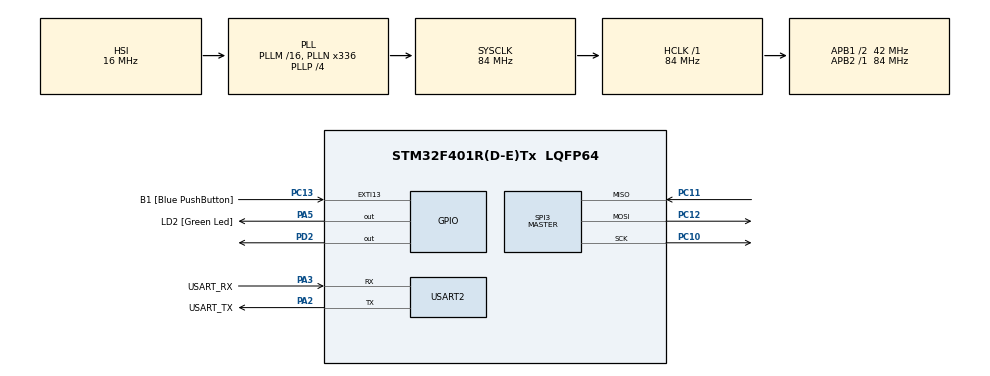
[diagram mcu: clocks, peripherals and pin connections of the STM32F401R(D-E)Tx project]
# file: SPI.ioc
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Mcu.Family=STM32F4
Mcu.Name=STM32F401R(D-E)Tx
Mcu.Package=LQFP64
NVIC.PriorityGroup=NVIC_PRIORITYGROUP_0
NVIC.SPI3_IRQn=true\:0\:0\:false\:false\:true\:true\:true\:true
PA13.GPIO_Label=TMS
PA13.Mode=Serial_Wire
PA13.Signal=SYS_JTMS-SWDIO
PA14.GPIO_Label=TCK
PA14.Mode=Serial_Wire
PA14.Signal=SYS_JTCK-SWCLK
PA2.GPIO_Label=USART_TX
PA2.GPIO_Mode=GPIO_MODE_AF_PP
PA2.GPIO_PuPd=GPIO_NOPULL
PA2.GPIO_Speed=GPIO_SPEED_FREQ_LOW
PA2.Mode=Asynchronous
PA2.Signal=USART2_TX
PA3.GPIO_Label=USART_RX
PA3.GPIO_Mode=GPIO_MODE_AF_PP
PA3.GPIO_PuPd=GPIO_NOPULL
PA3.GPIO_Speed=GPIO_SPEED_FREQ_LOW
PA3.Mode=Asynchronous
PA3.Signal=USART2_RX
PA5.GPIO_Label=LD2 [Green Led]
PA5.GPIO_Mode=GPIO_MODE_OUTPUT_PP
PA5.GPIO_PuPd=GPIO_NOPULL
PA5.GPIO_Speed=GPIO_SPEED_FREQ_LOW
PA5.Signal=GPIO_Output
PB3.GPIO_Label=SWO
PB3.Signal=SYS_JTDO-SWO
PC10.Mode=Full_Duplex_Master
PC10.Signal=SPI3_SCK
PC11.Mode=Full_Duplex_Master
PC11.Signal=SPI3_MISO
PC12.Mode=Full_Duplex_Master
PC12.Signal=SPI3_MOSI
PC13-ANTI_TAMP.GPIO_Label=B1 [Blue PushButton]
PC13-ANTI_TAMP.GPIO_ModeDefaultEXTI=GPIO_MODE_IT_FALLING
PC13-ANTI_TAMP.GPIO_PuPd=GPIO_NOPULL
PC13-ANTI_TAMP.Signal=GPXTI13
PC14-OSC32_IN.Mode=LSE-External-Oscillator
PC14-OSC32_IN.Signal=RCC_OSC32_IN
PC15-OSC32_OUT.Mode=LSE-External-Oscillator
PC15-OSC32_OUT.Signal=RCC_OSC32_OUT
PD2.PinState=GPIO_PIN_SET
PD2.Signal=GPIO_Output
PH0\ -\ OSC_IN.Mode=HSE-External-Clock-Source
PH0\ -\ OSC_IN.Signal=RCC_OSC_IN
PH1\ -\ OSC_OUT.Mode=HSE-External-Clock-Source
PH1\ -\ OSC_OUT.Signal=RCC_OSC_OUT
ProjectManager.HeapSize=0x200
ProjectManager.StackSize=0x400
ProjectManager.TargetToolchain=STM32CubeIDE
RCC.48MHZClocksFreq_Value=48000000
RCC.AHBFreq_Value=84000000
RCC.APB1CLKDivider=RCC_HCLK_DIV2
RCC.APB1Freq_Value=42000000
RCC.APB1TimFreq_Value=84000000
RCC.APB2Freq_Value=84000000
RCC.APB2TimFreq_Value=84000000
RCC.CortexFreq_Value=84000000
RCC.HCLKFreq_Value=84000000
RCC.HSE_VALUE=8000000
RCC.HSI_VALUE=16000000
RCC.PLLN=336
RCC.PLLP=RCC_PLLP_DIV4
RCC.PLLQ=7
RCC.SYSCLKFreq_VALUE=84000000
RCC.SYSCLKSource=RCC_SYSCLKSOURCE_PLLCLK
RCC.VCOOutputFreq_Value=336000000
SPI3.BaudRatePrescaler=SPI_BAUDRATEPRESCALER_64
SPI3.CLKPhase=SPI_PHASE_2EDGE
SPI3.CLKPolarity=SPI_POLARITY_HIGH
SPI3.Direction=SPI_DIRECTION_2LINES
SPI3.Mode=SPI_MODE_MASTER
SPI3.VirtualType=VM_MASTER
USART2.VirtualMode=VM_ASYNC
board=NUCLEO-F401RE

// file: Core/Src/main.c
/* USER CODE BEGIN Header */
/**
 ******************************************************************************
 * @file           : main.c
 * @brief          : Main program body
 ******************************************************************************
 * @attention
 *
 * Copyright (c) 2023 STMicroelectronics.
 * All rights reserved.
 *
 * This software is licensed under terms that can be found in the LICENSE file
 * in the root directory of this software component.
 * If no LICENSE file comes with this software, it is provided AS-IS.
 *
 ******************************************************************************
 */
/* USER CODE END Header */
#include "main.h"

SPI_HandleTypeDef hspi3;

UART_HandleTypeDef huart2;

/* USER CODE BEGIN PV */
uint8_t SPIRx[10];
uint8_t SPITx[10];

uint8_t RxBuffer[5];
uint8_t TxBuffer[5];

uint8_t data;

/* USER CODE END PV */

void SystemClock_Config(void);
static void MX_GPIO_Init(void);
static void MX_USART2_UART_Init(void);
static void MX_SPI3_Init(void);
/* USER CODE BEGIN PFP */
void SPIWrite1();
void SPIWrite2();
void HAL_SPI_TxRxCpltCallback(SPI_HandleTypeDef *hspi);
void SPITxRx_Setup();
/* USER CODE END PFP */

int main(void) {

	/* MCU Configuration--------------------------------------------------------*/

	/* Reset of all peripherals, Initializes the Flash interface and the Systick. */
	HAL_Init();

	/* Configure the system clock */
	SystemClock_Config();

	/* Initialize all configured peripherals */
	MX_GPIO_Init();
	MX_USART2_UART_Init();
	MX_SPI3_Init();
	/* USER CODE BEGIN 2 */
	SPITxRx_Setup();
	SPIWrite1();
	HAL_Delay(10);
	SPIWrite2();
	HAL_Delay(10);
	SPITxRx_readIO();
	/* USER CODE END 2 */

	/* Infinite loop */
	while (1) {

	}
}

void SystemClock_Config(void) {
	RCC_OscInitTypeDef RCC_OscInitStruct = { 0 };
	RCC_ClkInitTypeDef RCC_ClkInitStruct = { 0 };

	/** Configure the main internal regulator output voltage
	 */
	__HAL_RCC_PWR_CLK_ENABLE();
	__HAL_PWR_VOLTAGESCALING_CONFIG(PWR_REGULATOR_VOLTAGE_SCALE2);

	/** Initializes the RCC Oscillators according to the specified parameters
	 * in the RCC_OscInitTypeDef structure.
	 */
	RCC_OscInitStruct.OscillatorType = RCC_OSCILLATORTYPE_HSI;
	RCC_OscInitStruct.HSIState = RCC_HSI_ON;
	RCC_OscInitStruct.HSICalibrationValue = RCC_HSICALIBRATION_DEFAULT;
	RCC_OscInitStruct.PLL.PLLState = RCC_PLL_ON;
	RCC_OscInitStruct.PLL.PLLSource = RCC_PLLSOURCE_HSI;
	RCC_OscInitStruct.PLL.PLLM = 16;
	RCC_OscInitStruct.PLL.PLLN = 336;
	RCC_OscInitStruct.PLL.PLLP = RCC_PLLP_DIV4;
	RCC_OscInitStruct.PLL.PLLQ = 7;
	if (HAL_RCC_OscConfig(&RCC_OscInitStruct) != HAL_OK) {
		Error_Handler();
	}

	/** Initializes the CPU, AHB and APB buses clocks
	 */
	RCC_ClkInitStruct.ClockType = RCC_CLOCKTYPE_HCLK | RCC_CLOCKTYPE_SYSCLK
			| RCC_CLOCKTYPE_PCLK1 | RCC_CLOCKTYPE_PCLK2;
	RCC_ClkInitStruct.SYSCLKSource = RCC_SYSCLKSOURCE_PLLCLK;
	RCC_ClkInitStruct.AHBCLKDivider = RCC_SYSCLK_DIV1;
	RCC_ClkInitStruct.APB1CLKDivider = RCC_HCLK_DIV2;
	RCC_ClkInitStruct.APB2CLKDivider = RCC_HCLK_DIV1;

	if (HAL_RCC_ClockConfig(&RCC_ClkInitStruct, FLASH_LATENCY_2) != HAL_OK) {
		Error_Handler();
	}
}

static void MX_SPI3_Init(void) {

	/* SPI3 parameter configuration*/
	hspi3.Instance = SPI3;
	hspi3.Init.Mode = SPI_MODE_MASTER;
	hspi3.Init.Direction = SPI_DIRECTION_2LINES;
	hspi3.Init.DataSize = SPI_DATASIZE_8BIT;
	hspi3.Init.CLKPolarity = SPI_POLARITY_HIGH;
	hspi3.Init.CLKPhase = SPI_PHASE_2EDGE;
	hspi3.Init.NSS = SPI_NSS_SOFT;
	hspi3.Init.BaudRatePrescaler = SPI_BAUDRATEPRESCALER_64;
	hspi3.Init.FirstBit = SPI_FIRSTBIT_MSB;
	hspi3.Init.TIMode = SPI_TIMODE_DISABLE;
	hspi3.Init.CRCCalculation = SPI_CRCCALCULATION_DISABLE;
	hspi3.Init.CRCPolynomial = 10;
	if (HAL_SPI_Init(&hspi3) != HAL_OK) {
		Error_Handler();
	}

}

static void MX_USART2_UART_Init(void) {

	huart2.Instance = USART2;
	huart2.Init.BaudRate = 115200;
	huart2.Init.WordLength = UART_WORDLENGTH_8B;
	huart2.Init.StopBits = UART_STOPBITS_1;
	huart2.Init.Parity = UART_PARITY_NONE;
	huart2.Init.Mode = UART_MODE_TX_RX;
	huart2.Init.HwFlowCtl = UART_HWCONTROL_NONE;
	huart2.Init.OverSampling = UART_OVERSAMPLING_16;
	if (HAL_UART_Init(&huart2) != HAL_OK) {
		Error_Handler();
	}

}

static void MX_GPIO_Init(void) {
	GPIO_InitTypeDef GPIO_InitStruct = { 0 };

	/* GPIO Ports Clock Enable */
	__HAL_RCC_GPIOC_CLK_ENABLE();
	__HAL_RCC_GPIOH_CLK_ENABLE();
	__HAL_RCC_GPIOA_CLK_ENABLE();
	__HAL_RCC_GPIOD_CLK_ENABLE();
	__HAL_RCC_GPIOB_CLK_ENABLE();

	/*Configure GPIO pin Output Level */
	HAL_GPIO_WritePin(LD2_GPIO_Port, LD2_Pin, GPIO_PIN_RESET);

	/*Configure GPIO pin Output Level */
	HAL_GPIO_WritePin(GPIOD, GPIO_PIN_2, GPIO_PIN_SET);

	/*Configure GPIO pin : B1_Pin */
	GPIO_InitStruct.Pin = B1_Pin;
	GPIO_InitStruct.Mode = GPIO_MODE_IT_FALLING;
	GPIO_InitStruct.Pull = GPIO_NOPULL;
	HAL_GPIO_Init(B1_GPIO_Port, &GPIO_InitStruct);

	/*Configure GPIO pin : LD2_Pin */
	GPIO_InitStruct.Pin = LD2_Pin;
	GPIO_InitStruct.Mode = GPIO_MODE_OUTPUT_PP;
	GPIO_InitStruct.Pull = GPIO_NOPULL;
	GPIO_InitStruct.Speed = GPIO_SPEED_FREQ_LOW;
	HAL_GPIO_Init(LD2_GPIO_Port, &GPIO_InitStruct);

	/*Configure GPIO pin : PD2 */
	GPIO_InitStruct.Pin = GPIO_PIN_2;
	GPIO_InitStruct.Mode = GPIO_MODE_OUTPUT_PP;
	GPIO_InitStruct.Pull = GPIO_NOPULL;
	GPIO_InitStruct.Speed = GPIO_SPEED_FREQ_LOW;
	HAL_GPIO_Init(GPIOD, &GPIO_InitStruct);

}

/* USER CODE BEGIN 4 */
void SPITxRx_Setup() {
	HAL_GPIO_WritePin(GPIOD, GPIO_PIN_2, 0);
	HAL_Delay(1);
	HAL_GPIO_WritePin(GPIOD, GPIO_PIN_2, 1);
	HAL_Delay(1);
}
void SPITxRx_readIO() {
	if (HAL_GPIO_ReadPin(GPIOD, GPIO_PIN_2)) {
		HAL_GPIO_WritePin(GPIOD, GPIO_PIN_2, 0);
		SPITx[0] = 0b01000001;
		SPITx[1] = 0x01;
		SPITx[2] = 0;
		//SPITx[3] = 0;
		HAL_SPI_TransmitReceive_IT(&hspi3, SPITx, SPIRx, 3);
	}
}
void SPIWrite1() {
	if (HAL_GPIO_ReadPin(GPIOD, GPIO_PIN_2)) {
		HAL_GPIO_WritePin(GPIOD, GPIO_PIN_2, 0);
		SPITx[0] = 0b01000000;
		SPITx[1] = 0x01;
		SPITx[2] = 0b00000000;
		HAL_SPI_TransmitReceive_IT(&hspi3, SPITx, SPIRx, 3);
	}
}
void SPIWrite2() {
	if (HAL_GPIO_ReadPin(GPIOD, GPIO_PIN_2)) {
		HAL_GPIO_WritePin(GPIOD, GPIO_PIN_2, 0);
		SPITx[0] = 0b01000000;
		SPITx[1] = 0x15;
		SPITx[2] = 0b10101010;
		//SPITx[3] = 0;
		HAL_SPI_TransmitReceive_IT(&hspi3, SPITx, SPIRx, 3);
	}
}
void HAL_SPI_TxRxCpltCallback(SPI_HandleTypeDef *hspi) {
	HAL_GPIO_WritePin(GPIOD, GPIO_PIN_2, 1);
	data = SPIRx[2];
}
/* USER CODE END 4 */

void Error_Handler(void) {
	__disable_irq();
	while (1) {
	}
}
